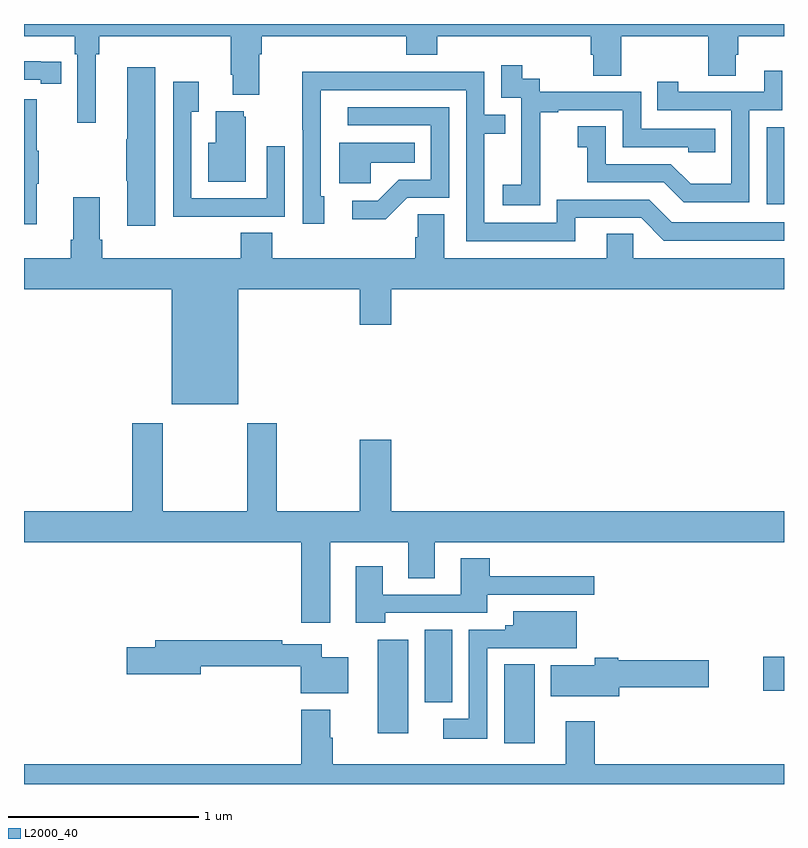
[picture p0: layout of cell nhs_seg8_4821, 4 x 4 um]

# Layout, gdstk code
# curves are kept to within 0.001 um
import gdstk
lib = gdstk.Library(unit=1e-6, precision=1e-09)
def R(c, l, rs):  # rectangles x0, y0, x1, y1
    for r in rs: c.add(gdstk.rectangle(r[:2], r[2:], *l))
def P(c, l, *ps):  # polygons
    for p in ps: c.add(gdstk.Polygon(p, *l))
L2000_40 = (2000, 40)

nhs_seg8_4821 = lib.new_cell('nhs_seg8_4821')
R(nhs_seg8_4821, L2000_40, [(405.527,1110.114,405.688,1110.529), (404.861,1110.168,405.022,1110.658), (405.11,1110.329,405.253,1110.712), (406.89,1110.391,407,1110.569), (406.908,1112.952,407,1113.357)])
P(nhs_seg8_4821, L2000_40, [(403.378,1113.74),(403.397,1113.74),(403.397,1113.836),(404.087,1113.836),(404.087,1113.634),(404.099,1113.634),(404.099,1113.527),(404.239,1113.527),(404.239,1113.74),(404.252,1113.74),(404.252,1113.836),(405.011,1113.836),(405.011,1113.737),(405.176,1113.737),(405.176,1113.836),(405.983,1113.836),(405.983,1113.738),(405.995,1113.738),(405.995,1113.628),(406.143,1113.628),(406.143,1113.836),(406.6,1113.836),(406.6,1113.628),(406.747,1113.628),(406.747,1113.738),(406.76,1113.738),(406.76,1113.836),(407,1113.836),(407,1113.9),(403,1113.9),(403,1113.836),(403.268,1113.836),(403.268,1113.74),(403.281,1113.74),(403.281,1113.381),(403.378,1113.381)],
  [(403.196,1113.702),(403.088,1113.702),(403.088,1113.703),(403,1113.703),(403,1113.606),(403.088,1113.606),(403.088,1113.586),(403.196,1113.586)],
  [(405.717,1113.151),(405.716,1113.151),(405.716,1113.435),(405.811,1113.435),(405.811,1113.447),(406.152,1113.447),(406.152,1113.252),(406.497,1113.252),(406.497,1113.225),(406.637,1113.225),(406.637,1113.348),(406.248,1113.348),(406.248,1113.543),(405.714,1113.543),(405.714,1113.612),(405.622,1113.612),(405.622,1113.682),(405.513,1113.682),(405.513,1113.513),(405.618,1113.513),(405.618,1113.284),(405.617,1113.284),(405.617,1113.055),(405.519,1113.055),(405.519,1112.945),(405.717,1112.945)],
  [(403.69,1113.673),(403.544,1113.673),(403.544,1113.293),(403.537,1113.293),(403.537,1113.076),(403.544,1113.076),(403.544,1112.838),(403.69,1112.838)],
  [(406.818,1113.447),(406.992,1113.447),(406.992,1113.655),(406.895,1113.655),(406.895,1113.543),(406.444,1113.543),(406.444,1113.595),(406.333,1113.595),(406.333,1113.447),(406.722,1113.447),(406.722,1113.058),(406.508,1113.058),(406.404,1113.162),(406.062,1113.162),(406.062,1113.361),(405.915,1113.361),(405.915,1113.251),(405.964,1113.251),(405.964,1113.066),(406.367,1113.066),(406.472,1112.961),(406.818,1112.961)],
  [(405.901,1112.88),(406.248,1112.88),(406.368,1112.76),(407,1112.76),(407,1112.856),(406.41,1112.856),(406.29,1112.976),(405.804,1112.976),(405.804,1112.853),(405.423,1112.853),(405.423,1113.322),(405.533,1113.322),(405.533,1113.423),(405.423,1113.423),(405.423,1113.648),(404.927,1113.648),(404.927,1113.65),(404.464,1113.65),(404.464,1113.343),(404.466,1113.343),(404.466,1112.85),(404.581,1112.85),(404.581,1112.994),(404.562,1112.994),(404.563,1113.552),(405.327,1113.552),(405.327,1112.757),(405.901,1112.757)],
  [(404.057,1112.886),(404.373,1112.886),(404.373,1113.256),(404.277,1113.256),(404.277,1112.982),(403.881,1112.982),(403.881,1113.439),(403.921,1113.439),(403.921,1113.595),(403.785,1113.595),(403.785,1112.885),(404.057,1112.885)],
  [(403.067,1113.059),(403.078,1113.059),(403.078,1113.233),(403.067,1113.233),(403.067,1113.505),(403,1113.505),(403,1112.847),(403.067,1112.847)],
  [(405.018,1112.985),(405.237,1112.985),(405.237,1113.462),(404.703,1113.462),(404.703,1113.366),(405.141,1113.366),(405.141,1113.081),(404.972,1113.081),(404.861,1112.97),(404.727,1112.97),(404.727,1112.873),(404.905,1112.873)],
  [(404.167,1113.411),(404.156,1113.411),(404.156,1113.442),(404.009,1113.442),(404.009,1113.274),(403.97,1113.274),(403.97,1113.071),(404.167,1113.071)],
  [(404.826,1113.17),(405.056,1113.17),(405.056,1113.274),(404.66,1113.274),(404.66,1113.062),(404.826,1113.062)],
  [(404.128,1112.504),(404.768,1112.504),(404.768,1112.316),(404.932,1112.316),(404.932,1112.504),(407,1112.504),(407,1112.668),(406.206,1112.668),(406.206,1112.795),(406.067,1112.795),(406.067,1112.668),(405.211,1112.668),(405.211,1112.9),(405.072,1112.9),(405.072,1112.777),(405.059,1112.777),(405.059,1112.668),(404.306,1112.668),(404.306,1112.801),(404.141,1112.801),(404.141,1112.668),(403.412,1112.668),(403.412,1112.764),(403.399,1112.764),(403.399,1112.989),(403.259,1112.989),(403.259,1112.764),(403.247,1112.764),(403.247,1112.668),(403,1112.668),(403,1112.504),(403.778,1112.504),(403.778,1111.898),(404.128,1111.898)],
  [(404.611,1111.172),(405.023,1111.172),(405.023,1110.982),(405.163,1110.982),(405.163,1111.172),(407,1111.172),(407,1111.336),(404.932,1111.336),(404.932,1111.711),(404.768,1111.711),(404.768,1111.336),(404.331,1111.336),(404.331,1111.798),(404.176,1111.798),(404.176,1111.336),(403.731,1111.336),(403.731,1111.798),(403.571,1111.798),(403.571,1111.336),(403,1111.336),(403,1111.172),(404.459,1111.172),(404.459,1110.75),(404.611,1110.75)],
  [(404.9,1110.801),(405.439,1110.801),(405.439,1110.897),(406,1110.897),(406,1110.994),(405.452,1110.994),(405.452,1111.087),(405.299,1111.087),(405.299,1110.897),(404.887,1110.897),(404.887,1111.045),(404.747,1111.045),(404.747,1110.75),(404.9,1110.75)],
  [(405.438,1110.615),(405.684,1110.615),(405.684,1110.614),(405.91,1110.614),(405.91,1110.808),(405.575,1110.808),(405.575,1110.736),(405.534,1110.736),(405.534,1110.711),(405.342,1110.711),(405.342,1110.244),(405.207,1110.244),(405.207,1110.137),(405.438,1110.137)],
  [(404.707,1110.568),(404.566,1110.568),(404.566,1110.636),(404.36,1110.636),(404.36,1110.656),(403.691,1110.656),(403.691,1110.62),(403.542,1110.62),(403.542,1110.478),(403.93,1110.478),(403.93,1110.52),(404.456,1110.52),(404.456,1110.377),(404.707,1110.377)],
  [(406.132,1110.409),(406.603,1110.409),(406.603,1110.551),(406.128,1110.551),(406.128,1110.564),(406.003,1110.564),(406.003,1110.526),(405.773,1110.526),(405.773,1110.362),(406.132,1110.362)],
  [(407,1110.004),(406.004,1110.004),(406.004,1110.229),(405.851,1110.229),(405.851,1110.004),(404.624,1110.004),(404.624,1110.143),(404.611,1110.143),(404.611,1110.292),(404.459,1110.292),(404.459,1110.004),(403,1110.004),(403,1109.9),(407,1109.9)])

lib.write_gds('nhs_seg8_4821.gds')
